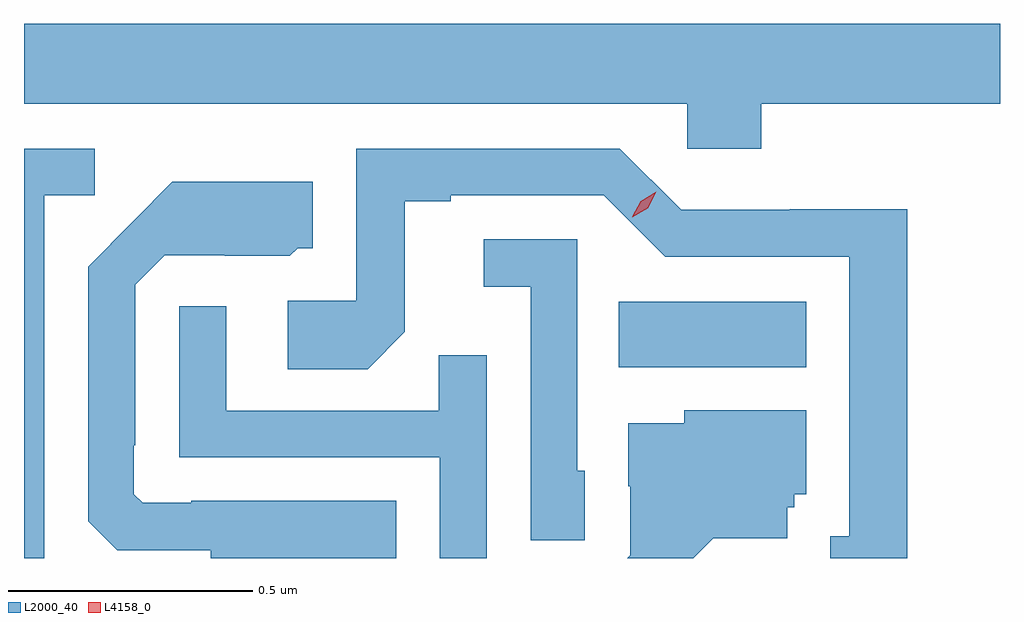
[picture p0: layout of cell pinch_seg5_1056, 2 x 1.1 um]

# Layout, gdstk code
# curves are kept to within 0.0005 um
import gdstk
lib = gdstk.Library(unit=1e-6, precision=1e-09)
def R(c, l, rs):  # rectangles x0, y0, x1, y1
    for r in rs: c.add(gdstk.rectangle(r[:2], r[2:], *l))
def P(c, l, *ps):  # polygons
    for p in ps: c.add(gdstk.Polygon(p, *l))
L2000_40 = (2000, 40)
L4158_0 = (4158, 0)

pinch_seg5_1056 = lib.new_cell('pinch_seg5_1056')
R(pinch_seg5_1056, L2000_40, [(713.902,842.9,714.286,843.034)])
P(pinch_seg5_1056, L2000_40, [(714.194,843.44),(714.683,843.44),(714.683,843.604),(712.683,843.604),(712.683,843.44),(714.042,843.44),(714.042,843.347),(714.194,843.347)],
  [(712.725,843.252),(712.828,843.252),(712.828,843.348),(712.683,843.348),(712.683,842.508),(712.725,842.508)],
  [(714.493,843.224),(714.252,843.224),(714.252,843.222),(714.03,843.222),(713.904,843.348),(713.364,843.348),(713.364,843.036),(713.223,843.036),(713.223,842.896),(713.387,842.896),(713.463,842.972),(713.463,843.24),(713.557,843.24),(713.557,843.252),(713.871,843.252),(713.997,843.126),(714.374,843.126),(714.374,842.553),(714.335,842.553),(714.335,842.508),(714.493,842.508)],
  [(713.446,842.626),(713.026,842.626),(713.026,842.622),(712.926,842.622),(712.908,842.64),(712.908,842.74),(712.911,842.74),(712.911,843.069),(712.971,843.129),(713.094,843.129),(713.094,843.128),(713.228,843.128),(713.244,843.144),(713.275,843.144),(713.275,843.28),(712.987,843.28),(712.815,843.106),(712.815,842.584),(712.874,842.525),(713.066,842.525),(713.066,842.508),(713.446,842.508)],
  [(713.832,842.688),(713.817,842.688),(713.817,843.162),(713.625,843.162),(713.625,843.065),(713.721,843.065),(713.721,842.545),(713.832,842.545)],
  [(713.631,842.924),(713.533,842.924),(713.533,842.811),(713.097,842.811),(713.097,843.025),(713.001,843.025),(713.001,842.715),(713.535,842.715),(713.535,842.508),(713.631,842.508)],
  [(714.095,842.549),(714.247,842.549),(714.247,842.613),(714.261,842.613),(714.261,842.64),(714.286,842.64),(714.286,842.812),(714.036,842.812),(714.036,842.785),(713.921,842.785),(713.921,842.656),(713.925,842.656),(713.925,842.514),(713.919,842.508),(714.054,842.508)])
P(pinch_seg5_1056, L4158_0, [(713.929,843.207),(713.929,843.208),(713.947,843.24),(713.979,843.259),(713.979,843.259),(713.979,843.259),(713.961,843.226),(713.929,843.207)])

lib.write_gds('pinch_seg5_1056.gds')
